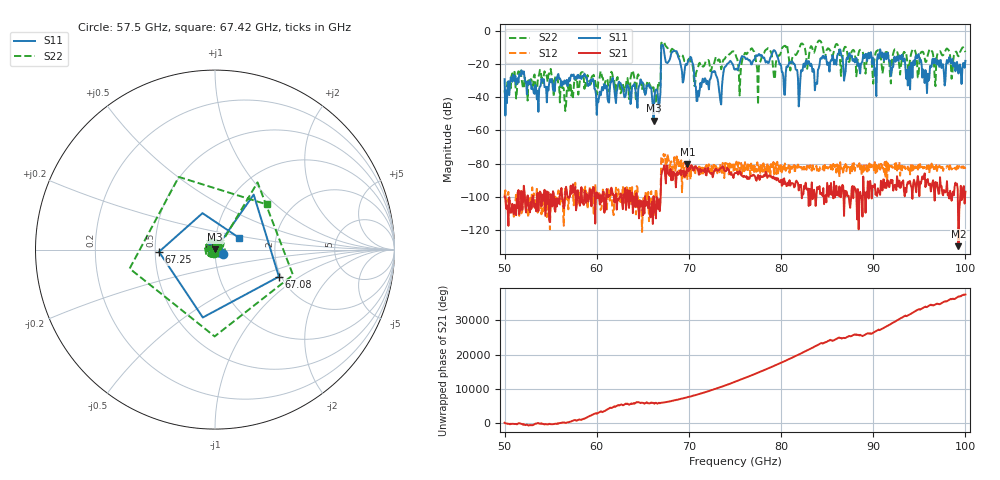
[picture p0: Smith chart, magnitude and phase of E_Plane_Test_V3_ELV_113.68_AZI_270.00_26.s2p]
! 11/26/2026 4:16:37 PM
! C:\ANRITSUVNA\TEMP\TEMP.S2P
! CHANNEL.1
! TR.MEASUREMENT
! RAW.DATA
# HZ S RI R 50.0
! FREQ.HZ  S11RE  S11IM  S21RE  S21IM  S12RE  S12IM  S22RE  S22IM
!; PortSelection: Port_12
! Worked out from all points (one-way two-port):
!   601 points, 50 GHz to 100 GHz, reference 50 ohm
!   highest |S21| = -80.43 dB at 69.83 GHz (marker M1); lowest = -130.0 dB at 99.25 GHz (marker M2)
!   lowest |S11| = -54.1 dB at 66.17 GHz (marker M3), VSWR 1.00, Z = 50.1 + j0.142 ohm
!   |S11| at or under -10 dB: start of sweep to 67 GHz; 67.24 GHz to end of sweep
!   |S22| runs from -48.2 to -5.6 dB; largest |S21 - S12| = 0.00024
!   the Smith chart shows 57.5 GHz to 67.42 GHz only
!   S11 on the Smith chart (normalised r, x): 57.5 GHz: 1.09, -0.05; 67.08 GHz: 1.94, -0.69; 67.25 GHz: 0.52, -0.01; 67.42 GHz: 1.29, +0.18
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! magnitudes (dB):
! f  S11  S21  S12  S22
! 50 GHz  -29.0  -100.0  -99.6  -35.7
! 51.67 GHz  -26.3  -108.5  -96.0  -23.2
! 53.42 GHz  -34.8  -108.8  -104.0  -34.9
! 57.5 GHz  -26.2  -97.4  -105.3  -34.6
! 58.42 GHz  -27.2  -103.7  -95.2  -24.7
! 60.17 GHz  -43.0  -98.5  -101.2  -30.4
! 66.17 GHz  -54.1  -99.8  -99.9  -34.0
! 66.67 GHz  -41.5  -107.6  -107.0  -31.6
! 67.08 GHz  -8.3  -85.2  -75.9  -6.8
! 67.25 GHz  -10.1  -82.7  -74.3  -6.2
! 67.42 GHz  -16.6  -87.2  -74.6  -8.3
! 69.83 GHz  -19.7  -80.4  -89.9  -18.6
! 70.92 GHz  -42.2  -82.8  -82.2  -23.1
! 75 GHz  -23.3  -85.7  -83.9  -13.0
! 77.58 GHz  -13.8  -87.7  -82.6  -22.0
! 78.58 GHz  -19.2  -88.0  -85.8  -10.1
! 79.25 GHz  -11.5  -89.2  -87.5  -28.9
! 80.25 GHz  -28.0  -92.7  -81.5  -9.3
! 83.42 GHz  -24.5  -101.6  -80.0  -10.8
! 91.67 GHz  -16.8  -93.9  -85.3  -15.2
! 99.25 GHz  -25.5  -130.0  -82.6  -15.1
! 100 GHz  -17.9  -97.1  -83.2  -12.6
